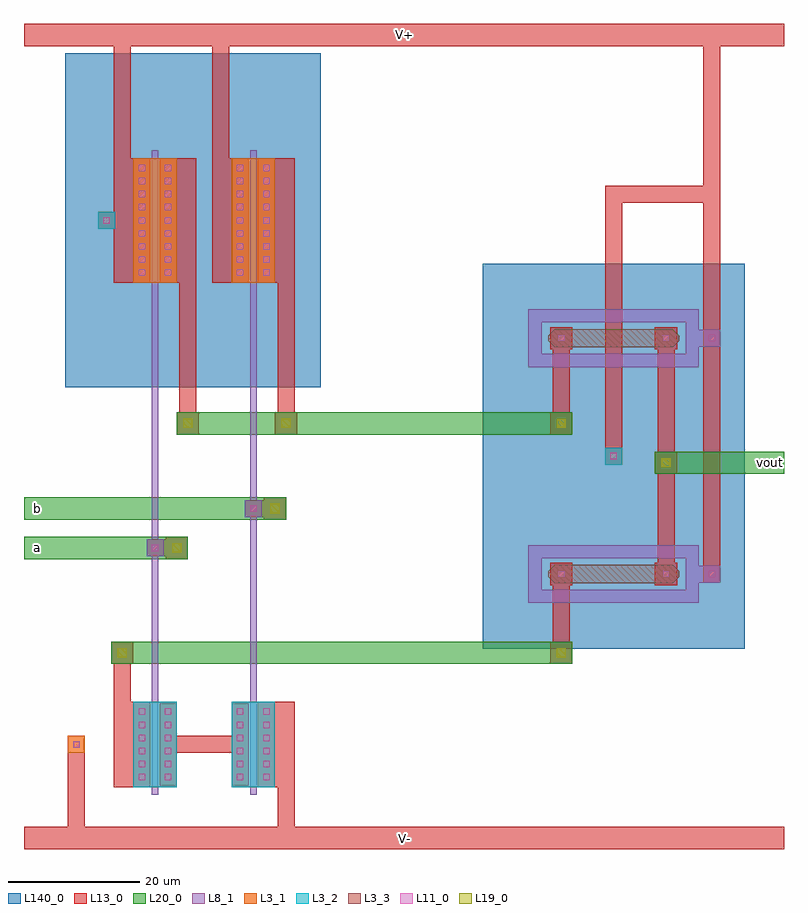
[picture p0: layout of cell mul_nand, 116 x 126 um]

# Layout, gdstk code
import gdstk
lib = gdstk.Library(unit=1e-6, precision=1e-09)
def R(c, l, rs):  # rectangles x0, y0, x1, y1
    for r in rs: c.add(gdstk.rectangle(r[:2], r[2:], *l))
def A(c, l, x, y, w, h, nx, ny, dx, dy):  # array of equal rectangles
    R(c, l, [(x+i*dx, y+j*dy, x+i*dx+w, y+j*dy+h) for i in range(nx) for j in range(ny)])
def P(c, l, *ps):  # polygons
    for p in ps: c.add(gdstk.Polygon(p, *l))
L3_1 = (3, 1)
L3_2 = (3, 2)
L3_3 = (3, 3)
L8_1 = (8, 1)
L11_0 = (11, 0)
L13_0 = (13, 0)
L19_0 = (19, 0)
L20_0 = (20, 0)
L140_0 = (140, 0)

fet_p = lib.new_cell('fet_p')
R(fet_p, L3_1, [(-3.3,-9.5,3.3,9.5)])
A(fet_p, L11_0, -2.5, -8.5, 1, 1, 1, 9, 0, 2)
A(fet_p, L11_0, 1.5, -8.5, 1, 1, 1, 9, 0, 2)
R(fet_p, L13_0, [(-3.3,-9.3,-0.7,9.3), (0.7,-9.3,3.3,9.3)])
fet_p.add(gdstk.FlexPath([(0,-10.7),(0,10.7)], 1, ends="flush", simple_path=True, layer=8, datatype=1))  # L8_1

fet_n = lib.new_cell('fet_n')
R(fet_n, L3_2, [(-3.3,-6.5,3.3,6.5)])
A(fet_n, L11_0, -2.5, -5.5, 1, 1, 1, 6, 0, 2)
A(fet_n, L11_0, 1.5, -5.5, 1, 1, 1, 6, 0, 2)
R(fet_n, L13_0, [(-3.3,-6.3,-0.7,6.3), (0.7,-6.3,3.3,6.3)])
fet_n.add(gdstk.FlexPath([(0,-7.7),(0,7.7)], 1, ends="flush", simple_path=True, layer=8, datatype=1))  # L8_1

res_diff = lib.new_cell('res_diff')
P(res_diff, L3_3, [(-9,-1.4),(-10,-0.4),(-10,0.4),(-9,1.4),(9,1.4),(10,0.4),(10,-0.4),(9,-1.4)])
P(res_diff, L8_1, [(-13,-4.4),(-13,2.4),(-11,2.4),(-11,-2.4),(11,-2.4),(11,2.4),(-13,2.4),(-13,4.4),(13,4.4),(13,-4.4)])
R(res_diff, L11_0, [(-8.5,-0.5,-7.5,0.5), (7.5,-0.5,8.5,0.5)])
R(res_diff, L13_0, [(-9.7,-1.7,-6.3,1.7), (6.3,-1.7,9.7,1.7)])

cont_n = lib.new_cell('cont_n')
R(cont_n, L3_2, [(-1.3,-1.3,1.3,1.3)])
R(cont_n, L11_0, [(-0.5,-0.5,0.5,0.5)])
R(cont_n, L13_0, [(-1.3,-1.3,1.3,1.3)])

cont_p = lib.new_cell('cont_p')
R(cont_p, L3_1, [(-1.3,-1.3,1.3,1.3)])
R(cont_p, L11_0, [(-0.5,-0.5,0.5,0.5)])
R(cont_p, L13_0, [(-1.3,-1.3,1.3,1.3)])

cont_g = lib.new_cell('cont_g')
R(cont_g, L8_1, [(-1.3,-1.3,1.3,1.3)])
R(cont_g, L11_0, [(-0.5,-0.5,0.5,0.5)])
R(cont_g, L13_0, [(-1.3,-1.3,1.3,1.3)])

via_1 = lib.new_cell('via_1')
R(via_1, L13_0, [(-1.7,-1.7,1.7,1.7)])
R(via_1, L19_0, [(-0.7,-0.7,0.7,0.7)])
R(via_1, L20_0, [(-1.7,-1.7,1.7,1.7)])

mul_nand = lib.new_cell('mul_nand')
R(mul_nand, L8_1, [(19.5,15.5,20.5,96.5), (34.5,15.5,35.5,96.5), (101.7,40.7,106.3,43.3), (101.7,76.7,106.3,79.3)])
R(mul_nand, L13_0, [(0,0,116,3.4), (6.7,0.4,9.3,17.3), (38.7,0.4,41.3,17.3), (13.7,9.5,19.3,22.5), (35.7,9.5,41.3,22.5), (13.7,14.7,19.3,17.3), (13.7,14.7,16.3,31.3), (20.7,14.7,34.3,17.3), (35.7,14.7,41.3,17.3), (80.7,28.7,83.3,43.3), (96.7,40.7,99.3,79.3), (103.7,40.7,106.3,101.3), (18.7,44.7,24.6,47.3), (33.7,50.7,39.6,53.3), (88.7,58.7,91.3,101.3), (23.7,63.7,26.3,97.3), (38.7,63.7,41.3,97.3), (80.7,63.7,83.3,79.3), (13.7,86.5,19.3,105.5), (20.7,86.5,26.3,105.5), (28.7,86.5,34.3,105.5), (35.7,86.5,41.3,105.5), (11.3,94.7,16.3,97.3), (13.7,94.7,16.3,125.6), (13.7,94.7,16.3,125.6), (13.7,94.7,19.3,97.3), (20.7,94.7,26.3,97.3), (28.7,94.7,31.3,125.6), (28.7,94.7,34.3,97.3), (35.7,94.7,41.3,97.3), (88.7,98.7,106.3,101.3), (103.7,98.7,106.3,125.6), (0,122.6,116,126)])
R(mul_nand, L20_0, [(13.3,28.3,83.7,31.7), (0,44.3,25,47.7), (0,50.3,40,53.7), (96.3,57.3,116,60.7), (23.3,63.3,83.7,66.7)])
R(mul_nand, L140_0, [(70,30.6,110,89.4), (6.3,70.5,45.3,121.5)])
mul_nand.add(gdstk.Reference(fet_p, (20,96)))
mul_nand.add(gdstk.Reference(fet_n, (20,16)))
mul_nand.add(gdstk.Reference(fet_p, (35,96)))
mul_nand.add(gdstk.Reference(fet_n, (35,16)))
mul_nand.add(gdstk.Reference(res_diff, (90,78)))
mul_nand.add(gdstk.Reference(res_diff, (90,42)))
mul_nand.add(gdstk.Reference(cont_n, (12.6,96)))
mul_nand.add(gdstk.Reference(cont_n, (90,60)))
mul_nand.add(gdstk.Reference(cont_p, (8,16)))
mul_nand.add(gdstk.Reference(cont_g, (105,42)))
mul_nand.add(gdstk.Reference(cont_g, (105,78)))
mul_nand.add(gdstk.Reference(via_1, (25,65)))
mul_nand.add(gdstk.Reference(via_1, (40,65)))
mul_nand.add(gdstk.Reference(via_1, (15,30)))
mul_nand.add(gdstk.Reference(cont_g, (20,46)))
mul_nand.add(gdstk.Reference(via_1, (23.3,46)))
mul_nand.add(gdstk.Reference(cont_g, (35,52)))
mul_nand.add(gdstk.Reference(via_1, (38.3,52)))
mul_nand.add(gdstk.Reference(via_1, (82,65)))
mul_nand.add(gdstk.Reference(via_1, (82,30)))
mul_nand.add(gdstk.Reference(via_1, (98,59)))
mul_nand.add(gdstk.Label('a', (2,46), layer=49, texttype=0))
mul_nand.add(gdstk.Label('b', (2,52), layer=49, texttype=0))
mul_nand.add(gdstk.Label('vout', (114,59), layer=49, texttype=0))
mul_nand.add(gdstk.Label('V+', (58,124.3), layer=48, texttype=0))
mul_nand.add(gdstk.Label('V-', (58,1.7), layer=48, texttype=0))

lib.write_gds('mul_nand.gds')
